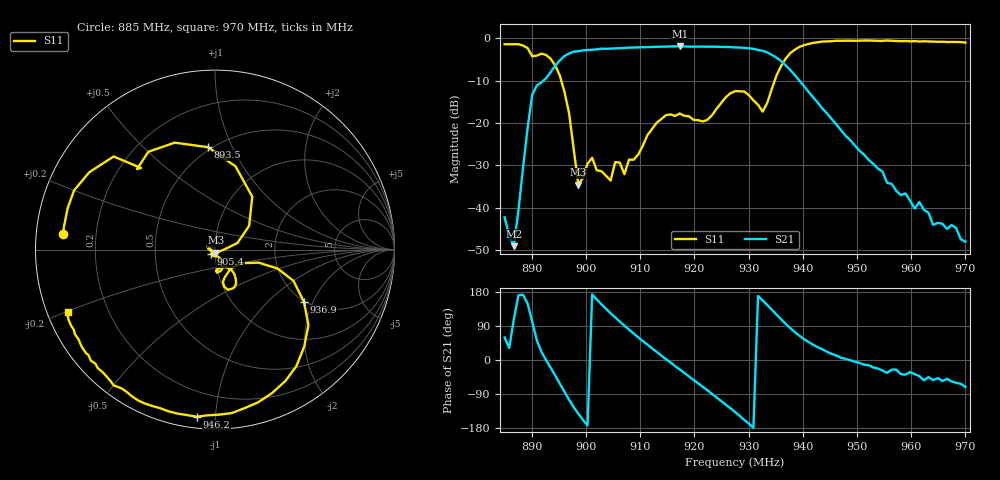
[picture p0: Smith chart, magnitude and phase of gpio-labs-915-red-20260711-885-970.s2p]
# HZ S RI R 50
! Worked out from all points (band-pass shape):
!   101 points, 885 MHz to 970 MHz, reference 50 ohm
!   highest |S21| = -1.88 dB at 917.3 MHz (marker M1); lowest = -49.1 dB at 886.7 MHz (marker M2)
!   |S21| within 3 dB of the highest: 895.5 MHz to 935.5 MHz (40.03 MHz wide, 4.37 % of centre)
!   lowest |S11| = -34.6 dB at 898.6 MHz (marker M3), VSWR 1.04, Z = 50.7 - j1.74 ohm
!   |S11| at or under -10 dB: 895.5 MHz to 934.8 MHz (39.37 MHz wide, 4.3 % of centre)
!   S12 and S22 are empty: the file has one direction only
!   S11 on the Smith chart (normalised r, x): 885 MHz: 0.08, +0.05; 893.5 MHz: 0.48, +0.81; 905.4 MHz: 0.95, -0.05; 936.9 MHz: 1.97, -1.72; 946.2 MHz: 0.06, -0.89; 970 MHz: 0.06, -0.20
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8.85e8  -0.8479 0.0856  0.0039 0.0066  0 0  0 0
8.867e8  -0.8206 0.2313  -0.00102 0.00335  0 0  0 0
8.901e8  -0.4118 0.4548  -0.0398 0.212  0 0  0 0
8.918e8  -0.371 0.5452  0.2808 0.1102  0 0  0 0
8.935e8  -0.0389 0.5707  0.3743 -0.1404  0 0  0 0
8.9605e8  0.1901 0.132  0.0653 -0.614  0 0  0 0
8.986e8  0.0075 -0.0171  -0.5526 -0.4375  0 0  0 0
8.9945e8  -0.0224 -0.00195  -0.6683 -0.2695  0 0  0 0
9.0115e8  -0.0385 0.00474  -0.7276 0.0895  0 0  0 0
9.0455e8  -0.0153 -0.0142  -0.4162 0.6301  0 0  0 0
9.054e8  -0.0227 -0.0259  -0.2907 0.7051  0 0  0 0
9.071e8  -0.00999 -0.0227  -0.00911 0.7701  0 0  0 0
9.139e8  0.0411 -0.1032  0.7792 0.1644  0 0  0 0
9.173e8  0.0111 -0.1288  0.7311 -0.3371  0 0  0 0
9.224e8  0.0494 -0.0969  0.1442 -0.7828  0 0  0 0
9.275e8  0.1058 -0.2128  -0.5713 -0.531  0 0  0 0
9.326e8  0.0879 -0.1039  -0.658 0.2756  0 0  0 0
9.3685e8  0.4957 -0.2915  -0.0456 0.4773  0 0  0 0
9.4195e8  0.2398 -0.851  0.1531 0.1283  0 0  0 0
9.462e8  -0.1019 -0.9307  0.0938 0.0196  0 0  0 0
9.564e8  -0.5803 -0.7343  0.0172 -0.00823  0 0  0 0
9.7e8  -0.8203 -0.3481  0.0013 -0.00375  0 0  0 0
